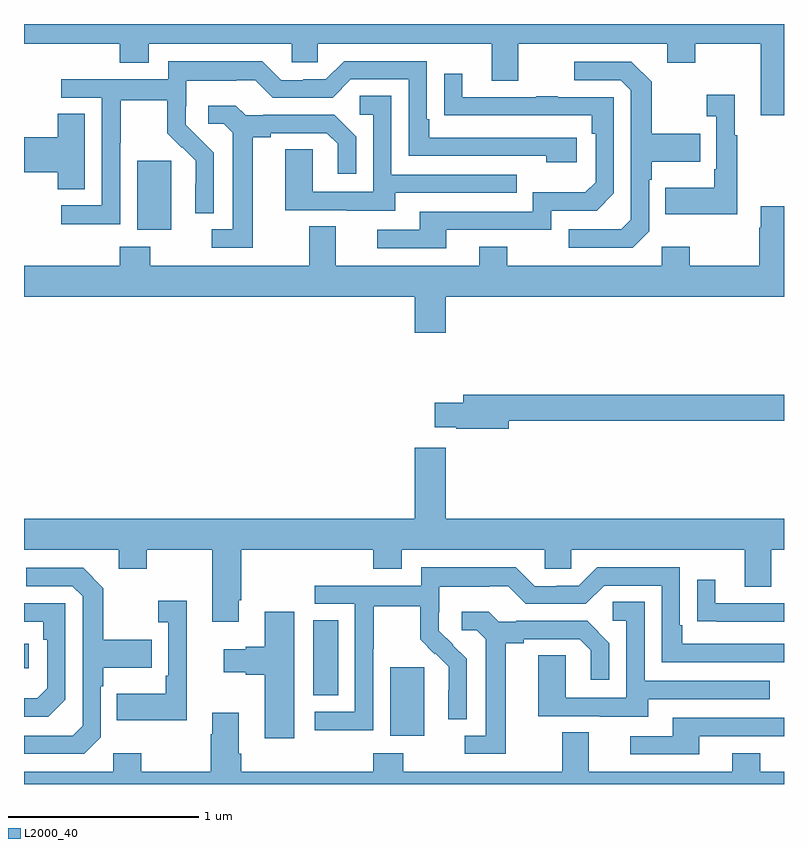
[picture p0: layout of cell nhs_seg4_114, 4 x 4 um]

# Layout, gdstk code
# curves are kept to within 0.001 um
import gdstk
lib = gdstk.Library(unit=1e-6, precision=1e-09)
def R(c, l, rs):  # rectangles x0, y0, x1, y1
    for r in rs: c.add(gdstk.rectangle(r[:2], r[2:], *l))
def P(c, l, *ps):  # polygons
    for p in ps: c.add(gdstk.Polygon(p, *l))
L2000_40 = (2000, 40)

nhs_seg4_114 = lib.new_cell('nhs_seg4_114')
R(nhs_seg4_114, L2000_40, [(116.927,817.154,117.106,817.515), (116.522,817.366,116.653,817.763), (115,817.508,115.024,817.638), (115.595,819.818,115.774,820.179)])
P(nhs_seg4_114, L2000_40, [(119,820.9),(115,820.9),(115,820.796),(115.505,820.796),(115.505,820.697),(115.657,820.697),(115.657,820.796),(116.409,820.796),(116.409,820.698),(116.547,820.698),(116.547,820.796),(117.461,820.796),(117.461,820.602),(117.601,820.602),(117.601,820.796),(118.385,820.796),(118.385,820.697),(118.533,820.697),(118.533,820.796),(118.877,820.796),(118.877,820.419),(119,820.419)],
  [(115.506,820.276),(115.509,820.276),(115.509,820.5),(115.753,820.5),(115.753,820.325),(115.83,820.248),(115.833,820.251),(115.904,820.181),(115.904,820.058),(115.902,820.058),(115.902,819.904),(115.998,819.904),(115.998,820.222),(115.852,820.37),(115.852,820.467),(115.854,820.467),(115.854,820.601),(116.117,820.601),(116.117,820.605),(116.217,820.605),(116.31,820.512),(116.625,820.512),(116.721,820.608),(117.024,820.608),(117.024,820.206),(117.749,820.206),(117.749,820.172),(117.91,820.172),(117.91,820.302),(117.133,820.302),(117.133,820.399),(117.12,820.399),(117.12,820.704),(116.685,820.704),(116.589,820.608),(116.471,820.608),(116.471,820.605),(116.355,820.605),(116.255,820.705),(115.758,820.705),(115.758,820.608),(115.197,820.608),(115.197,820.512),(115.41,820.512),(115.41,819.945),(115.197,819.945),(115.197,819.847),(115.506,819.847)],
  [(118.29,819.81),(118.29,820.079),(118.303,820.079),(118.303,820.175),(118.559,820.175),(118.559,820.323),(118.303,820.323),(118.303,820.595),(118.197,820.701),(117.897,820.701),(117.897,820.605),(118.14,820.605),(118.194,820.551),(118.194,819.87),(118.143,819.819),(117.867,819.819),(117.867,819.723),(118.203,819.723)],
  [(117.223,819.816),(117.774,819.816),(117.774,819.918),(118.014,819.918),(118.104,820.008),(118.104,820.515),(117.809,820.515),(117.809,820.52),(117.697,820.52),(117.697,820.515),(117.307,820.515),(117.307,820.639),(117.211,820.639),(117.211,820.42),(117.988,820.419),(117.988,820.322),(118.008,820.322),(118.008,820.068),(117.955,820.015),(117.678,820.015),(117.678,819.912),(117.083,819.912),(117.083,819.816),(116.859,819.816),(116.859,819.72),(117.223,819.72)],
  [(118.753,820.315),(118.741,820.315),(118.741,820.528),(118.593,820.528),(118.593,820.415),(118.644,820.415),(118.644,820.135),(118.632,820.135),(118.632,820.039),(118.375,820.039),(118.375,819.899),(118.753,819.899)],
  [(116.953,820.011),(117.593,820.011),(117.593,820.107),(116.934,820.107),(116.934,820.523),(116.766,820.523),(116.766,820.422),(116.838,820.422),(116.838,820.017),(116.52,820.017),(116.52,820.241),(116.375,820.241),(116.375,819.921),(116.699,819.921),(116.699,819.917),(116.953,819.917)],
  [(116.203,820.304),(116.299,820.304),(116.299,820.326),(116.594,820.326),(116.651,820.269),(116.651,820.113),(116.748,820.113),(116.748,820.306),(116.632,820.422),(116.26,820.422),(116.26,820.419),(116.166,820.419),(116.114,820.471),(115.971,820.471),(115.971,820.374),(116.052,820.374),(116.099,820.327),(116.099,819.819),(115.989,819.819),(115.989,819.723),(116.203,819.723)],
  [(115.321,820.427),(115.178,820.427),(115.178,820.304),(115,820.304),(115,820.121),(115.178,820.121),(115.178,820.03),(115.321,820.03)],
  [(117.22,819.464),(119,819.464),(119,819.94),(118.877,819.94),(118.877,819.827),(118.87,819.827),(118.87,819.628),(118.503,819.628),(118.503,819.727),(118.356,819.727),(118.356,819.628),(117.543,819.628),(117.543,819.727),(117.395,819.727),(117.395,819.628),(116.641,819.628),(116.641,819.836),(116.501,819.836),(116.501,819.628),(115.665,819.628),(115.665,819.727),(115.505,819.727),(115.505,819.628),(115,819.628),(115,819.464),(117.056,819.464),(117.056,819.276),(117.22,819.276)],
  [(117.55,818.812),(119,818.812),(119,818.948),(117.311,818.948),(117.311,818.907),(117.162,818.907),(117.162,818.777),(117.274,818.777),(117.274,818.77),(117.55,818.77)],
  [(116.131,817.867),(116.144,817.867),(116.144,818.132),(116.837,818.132),(116.837,818.033),(116.989,818.033),(116.989,818.132),(117.741,818.132),(117.741,818.034),(117.879,818.034),(117.879,818.132),(118.793,818.132),(118.793,817.938),(118.933,817.938),(118.933,818.132),(119,818.132),(119,818.296),(117.22,818.296),(117.22,818.671),(117.056,818.671),(117.056,818.296),(115,818.296),(115,818.132),(115.499,818.132),(115.499,818.033),(115.647,818.033),(115.647,818.132),(115.991,818.132),(115.991,817.755),(116.131,817.755)],
  [(116.838,817.612),(116.841,817.612),(116.841,817.836),(117.085,817.836),(117.085,817.661),(117.162,817.584),(117.165,817.587),(117.236,817.517),(117.236,817.394),(117.234,817.394),(117.234,817.24),(117.33,817.24),(117.33,817.558),(117.184,817.706),(117.184,817.803),(117.186,817.803),(117.186,817.937),(117.449,817.937),(117.449,817.941),(117.549,817.941),(117.642,817.848),(117.957,817.848),(118.053,817.944),(118.356,817.944),(118.356,817.542),(119,817.542),(119,817.638),(118.465,817.638),(118.465,817.735),(118.452,817.735),(118.452,818.04),(118.017,818.04),(117.921,817.944),(117.803,817.944),(117.803,817.941),(117.687,817.941),(117.587,818.041),(117.09,818.041),(117.09,817.944),(116.529,817.944),(116.529,817.848),(116.742,817.848),(116.742,817.281),(116.529,817.281),(116.529,817.183),(116.838,817.183)],
  [(115.404,817.146),(115.404,817.415),(115.417,817.415),(115.417,817.511),(115.673,817.511),(115.673,817.659),(115.417,817.659),(115.417,817.931),(115.311,818.037),(115.011,818.037),(115.011,817.941),(115.254,817.941),(115.308,817.887),(115.308,817.206),(115.257,817.155),(115,817.155),(115,817.059),(115.317,817.059)],
  [(119,817.851),(118.639,817.851),(118.639,817.975),(118.543,817.975),(118.543,817.756),(118.645,817.756),(118.645,817.755),(119,817.755)],
  [(115.856,817.864),(115.707,817.864),(115.707,817.751),(115.758,817.751),(115.758,817.471),(115.746,817.471),(115.746,817.375),(115.489,817.375),(115.489,817.235),(115.856,817.235)],
  [(118.285,817.347),(118.925,817.347),(118.925,817.443),(118.266,817.443),(118.266,817.859),(118.098,817.859),(118.098,817.758),(118.17,817.758),(118.17,817.353),(117.852,817.353),(117.852,817.577),(117.707,817.577),(117.707,817.257),(118.031,817.257),(118.031,817.253),(118.285,817.253)],
  [(115.218,817.344),(115.218,817.851),(115,817.851),(115,817.755),(115.102,817.755),(115.102,817.658),(115.122,817.658),(115.122,817.404),(115.069,817.351),(115,817.351),(115,817.254),(115.128,817.254)],
  [(116.422,817.807),(116.267,817.807),(116.267,817.622),(116.168,817.622),(116.168,817.609),(116.052,817.609),(116.052,817.487),(116.168,817.487),(116.168,817.475),(116.267,817.475),(116.267,817.14),(116.422,817.14)],
  [(117.535,817.64),(117.631,817.64),(117.631,817.662),(117.926,817.662),(117.983,817.605),(117.983,817.449),(118.08,817.449),(118.08,817.642),(117.964,817.758),(117.592,817.758),(117.592,817.755),(117.498,817.755),(117.446,817.807),(117.303,817.807),(117.303,817.71),(117.384,817.71),(117.431,817.663),(117.431,817.155),(117.321,817.155),(117.321,817.059),(117.535,817.059)],
  [(119,816.964),(118.875,816.964),(118.875,817.063),(118.727,817.063),(118.727,816.964),(117.973,816.964),(117.973,817.172),(117.833,817.172),(117.833,816.964),(116.997,816.964),(116.997,817.063),(116.837,817.063),(116.837,816.964),(116.144,816.964),(116.144,817.06),(116.131,817.06),(116.131,817.276),(115.991,817.276),(115.991,817.163),(115.984,817.163),(115.984,816.964),(115.617,816.964),(115.617,817.063),(115.47,817.063),(115.47,816.964),(115,816.964),(115,816.9),(119,816.9)],
  [(118.555,817.152),(119,817.152),(119,817.248),(118.415,817.248),(118.415,817.152),(118.191,817.152),(118.191,817.056),(118.555,817.056)])

lib.write_gds('nhs_seg4_114.gds')
